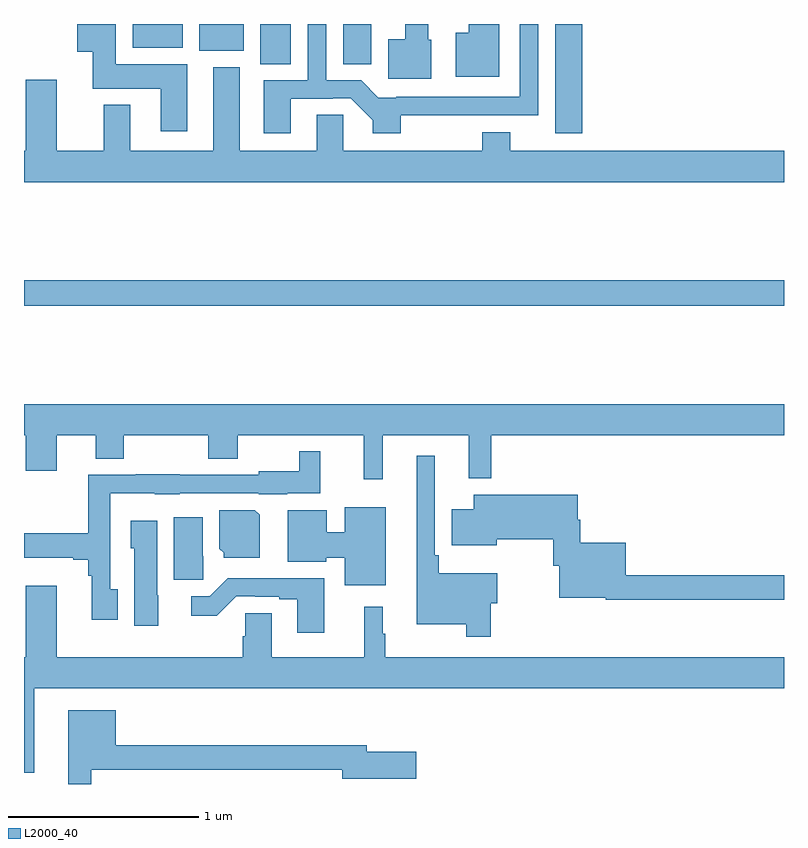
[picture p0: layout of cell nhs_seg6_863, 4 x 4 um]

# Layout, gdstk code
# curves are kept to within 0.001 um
import gdstk
lib = gdstk.Library(unit=1e-6, precision=1e-09)
def R(c, l, rs):  # rectangles x0, y0, x1, y1
    for r in rs: c.add(gdstk.rectangle(r[:2], r[2:], *l))
def P(c, l, *ps):  # polygons
    for p in ps: c.add(gdstk.Polygon(p, *l))
L2000_40 = (2000, 40)

nhs_seg6_863 = lib.new_cell('nhs_seg6_863')
R(nhs_seg6_863, L2000_40, [(165,948.016,169,948.152), (167.795,948.924,167.939,949.5), (166.244,949.288,166.405,949.5), (166.679,949.288,166.828,949.5), (165.923,949.358,166.156,949.5), (165.572,949.376,165.835,949.5)])
P(nhs_seg6_863, L2000_40, [(167.5,949.5),(167.342,949.5),(167.342,949.453),(167.273,949.453),(167.273,949.223),(167.5,949.223)],
  [(166.405,949.107),(166.625,949.107),(166.625,949.11),(166.719,949.11),(166.835,948.994),(166.835,948.926),(166.983,948.926),(166.983,949.019),(167.706,949.02),(167.706,949.5),(167.61,949.5),(167.61,949.116),(166.96,949.116),(166.96,949.113),(166.864,949.113),(166.774,949.203),(166.59,949.203),(166.59,949.5),(166.494,949.5),(166.494,949.203),(166.262,949.203),(166.262,948.924),(166.405,948.924)],
  [(167.143,949.416),(167.128,949.416),(167.128,949.5),(167.006,949.5),(167.006,949.42),(166.916,949.42),(166.916,949.211),(167.143,949.211)],
  [(165.859,949.288),(165.484,949.288),(165.484,949.5),(165.281,949.5),(165.281,949.355),(165.362,949.355),(165.362,949.16),(165.719,949.16),(165.719,948.936),(165.859,948.936)],
  [(169,948.832),(167.56,948.832),(167.56,948.931),(167.413,948.931),(167.413,948.832),(166.68,948.832),(166.68,949.022),(166.541,949.022),(166.541,948.832),(166.135,948.832),(166.135,949.273),(165.995,949.273),(165.995,948.832),(165.559,948.832),(165.559,949.075),(165.419,949.075),(165.419,948.832),(165.172,948.832),(165.172,949.207),(165.008,949.207),(165.008,948.832),(165,948.832),(165,948.668),(169,948.668)],
  [(166.889,947.336),(167.342,947.336),(167.342,947.108),(167.459,947.108),(167.459,947.336),(169,947.336),(169,947.5),(165,947.5),(165,947.336),(165.008,947.336),(165.008,947.148),(165.172,947.148),(165.172,947.336),(165.377,947.336),(165.377,947.212),(165.525,947.212),(165.525,947.336),(165.97,947.336),(165.97,947.212),(166.125,947.212),(166.125,947.336),(166.789,947.336),(166.789,947.103),(166.889,947.103)],
  [(165.493,946.526),(165.453,946.526),(165.453,947.03),(165.687,947.03),(165.687,947.024),(165.819,947.024),(165.819,947.031),(166.236,947.031),(166.236,947.024),(166.386,947.024),(166.386,947.03),(166.56,947.03),(166.56,947.251),(166.449,947.251),(166.449,947.146),(166.236,947.146),(166.236,947.127),(165.819,947.127),(165.819,947.129),(165.587,947.129),(165.587,947.127),(165.337,947.127),(165.337,946.821),(165,946.821),(165,946.691),(165.26,946.691),(165.26,946.679),(165.337,946.679),(165.337,946.595),(165.356,946.595),(165.356,946.365),(165.493,946.365)],
  [(167.456,946.451),(167.491,946.451),(167.491,946.609),(167.183,946.609),(167.183,946.705),(167.163,946.705),(167.163,947.227),(167.066,947.227),(167.066,946.34),(167.328,946.34),(167.328,946.275),(167.456,946.275)],
  [(169,946.598),(168.166,946.598),(168.166,946.771),(167.927,946.771),(167.927,946.891),(167.914,946.891),(167.914,947.023),(167.366,947.023),(167.366,946.945),(167.252,946.945),(167.252,946.757),(167.488,946.757),(167.488,946.787),(167.786,946.787),(167.786,946.649),(167.816,946.649),(167.816,946.481),(168.062,946.481),(168.062,946.47),(169,946.47)],
  [(166.903,946.957),(166.688,946.957),(166.688,946.826),(166.594,946.826),(166.594,946.94),(166.388,946.94),(166.388,946.67),(166.59,946.67),(166.59,946.691),(166.688,946.691),(166.688,946.547),(166.903,946.547)],
  [(166.24,946.916),(166.214,946.942),(166.028,946.942),(166.028,946.738),(166.05,946.716),(166.05,946.691),(166.24,946.691)],
  [(165.944,946.698),(165.94,946.698),(165.94,946.903),(165.788,946.903),(165.788,946.575),(165.944,946.575)],
  [(165.706,946.494),(165.7,946.494),(165.7,946.885),(165.563,946.885),(165.563,946.74),(165.581,946.74),(165.581,946.332),(165.706,946.332)],
  [(166.579,946.582),(166.072,946.582),(165.978,946.488),(165.879,946.488),(165.879,946.386),(166.014,946.386),(166.116,946.488),(166.216,946.488),(166.216,946.485),(166.343,946.485),(166.343,946.473),(166.439,946.473),(166.439,946.296),(166.579,946.296)],
  [(165.055,946.004),(169,946.004),(169,946.168),(166.9,946.168),(166.9,946.292),(166.888,946.292),(166.888,946.432),(166.79,946.432),(166.79,946.168),(166.303,946.168),(166.303,946.4),(166.164,946.4),(166.164,946.278),(166.151,946.278),(166.151,946.168),(165.172,946.168),(165.172,946.543),(165.008,946.543),(165.008,946.168),(165,946.168),(165,945.56),(165.055,945.56)],
  [(165.355,945.574),(166.676,945.574),(166.676,945.527),(167.065,945.527),(167.065,945.669),(166.804,945.669),(166.804,945.703),(165.484,945.703),(165.484,945.889),(165.233,945.889),(165.233,945.5),(165.355,945.5)])

lib.write_gds('nhs_seg6_863.gds')
